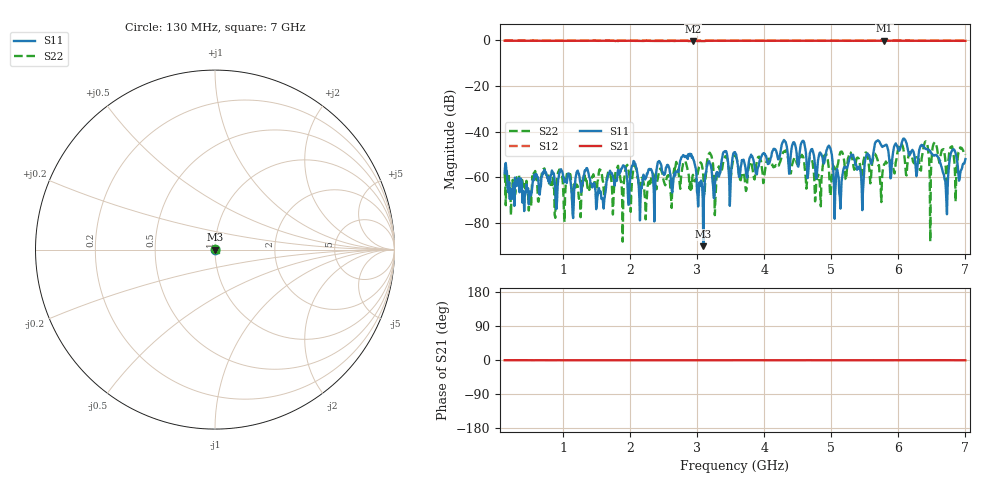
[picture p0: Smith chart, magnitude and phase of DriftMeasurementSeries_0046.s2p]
# Hz S RI R 50.000000
! Metas.Vna.Tools, 2.8.8664.20301
! Metas.Vna.Data, 2.8.8664.20285
! Created: UTC 2024.02.11 10:08:22
! FREQ  re:S1,1  im:S1,1  re:S2,1  im:S2,1  re:S1,2  im:S1,2  re:S2,2  im:S2,2
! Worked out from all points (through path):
!   801 points, 130 MHz to 7 GHz, reference 50 ohm
!   highest |S21| = -0.07 dB at 5.789 GHz (marker M1); lowest = -0.3 dB at 2.938 GHz (marker M2)
!   lowest |S11| = -90.4 dB at 3.093 GHz (marker M3), VSWR 1.00, Z = 50 + j0.00251 ohm
!   |S11| at or under -10 dB: start of sweep to end of sweep
!   |S22| runs from -88.4 to -44.3 dB; largest |S21 - S12| = 0.035
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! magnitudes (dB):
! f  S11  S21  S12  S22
! 130 MHz  -58.4  -0.1  0.0  -58.7
! 241.6 MHz  -65.8  -0.1  0.0  -68.1
! 722.5 MHz  -56.8  -0.2  0.0  -56.2
! 1.281 GHz  -63.6  -0.1  0.0  -61.8
! 1.598 GHz  -71.4  -0.1  0.0  -62.2
! 2.062 GHz  -53.3  -0.2  0.0  -55.2
! 2.157 GHz  -69.6  -0.2  0.0  -62.6
! 2.423 GHz  -53.3  -0.2  0.0  -59.0
! 2.938 GHz  -51.6  -0.3  0.0  -59.0
! 3.093 GHz  -90.4  -0.3  0.0  -59.7
! 3.565 GHz  -49.1  -0.1  0.0  -50.5
! 3.72 GHz  -55.7  -0.1  0.0  -64.0
! 4.716 GHz  -47.7  -0.1  0.0  -52.8
! 4.973 GHz  -46.6  -0.1  0.0  -61.2
! 5.137 GHz  -73.9  -0.1  0.0  -49.0
! 5.3 GHz  -50.1  -0.1  0.0  -50.5
! 5.789 GHz  -46.3  -0.1  0.0  -54.3
! 5.858 GHz  -50.2  -0.1  0.0  -53.0
! 6.365 GHz  -46.4  -0.1  0.0  -48.9
! 6.708 GHz  -64.8  -0.1  0.0  -56.4
! 6.802 GHz  -48.4  -0.1  0.0  -46.5
! 7 GHz  -52.1  -0.2  0.0  -50.2
